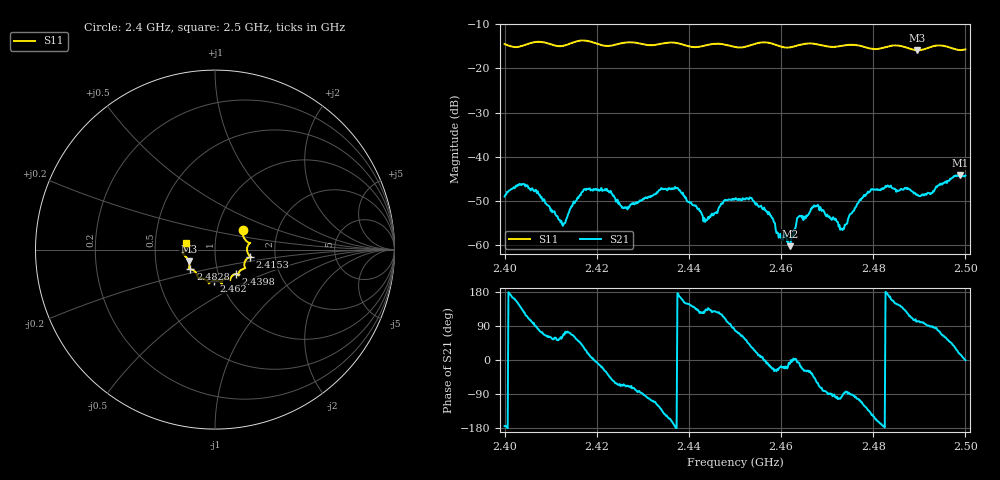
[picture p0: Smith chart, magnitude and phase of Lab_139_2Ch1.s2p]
# Hz S RI R 50
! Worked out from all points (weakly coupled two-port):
!   601 points, 2.4 GHz to 2.5 GHz, reference 50 ohm
!   highest |S21| = -44.22 dB at 2.4988 GHz (marker M1); lowest = -60.2 dB at 2.462 GHz (marker M2)
!   lowest |S11| = -15.9 dB at 2.4895 GHz (marker M3), VSWR 1.38, Z = 36.9 - j4.99 ohm
!   |S11| at or under -10 dB: start of sweep to end of sweep
!   S12 and S22 are empty: the file has one direction only
!   S11 on the Smith chart (normalised r, x): 2.4 GHz: 1.33, +0.29; 2.4153 GHz: 1.48, -0.12; 2.4398 GHz: 1.21, -0.34; 2.462 GHz: 0.93, -0.33; 2.4828 GHz: 0.74, -0.17; 2.5 GHz: 0.72, +0.06
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2.4e9  0.1555 0.1068  -0.00353 -0.000344  0 0  0 0
2.4045e9  0.1798 0.043  -0.00225 0.00404  0 0  0 0
2.412667e9  0.1796 -0.00991  0.000692 0.0015  0 0  0 0
2.415333e9  0.1963 -0.0386  0.00162 0.00266  0 0  0 0
2.416667e9  0.2023 -0.0426  0.00295 0.00261  0 0  0 0
2.422167e9  0.1671 -0.0662  0.00358 -0.00243  0 0  0 0
2.426167e9  0.1675 -0.1016  0.000996 -0.00245  0 0  0 0
2.433333e9  0.1307 -0.1338  -0.0021 -0.00346  0 0  0 0
2.439833e9  0.1155 -0.1362  -0.0026 0.00166  0 0  0 0
2.443667e9  0.0865 -0.1607  -0.00133 0.00141  0 0  0 0
2.45e9  0.0649 -0.1623  0.000724 0.00325  0 0  0 0
2.453667e9  0.0362 -0.1818  0.00286 0.00182  0 0  0 0
2.462e9  -0.00491 -0.1731  0.000967 -0.000114  0 0  0 0
2.463833e9  -0.026 -0.1815  0.00209 -0.000249  0 0  0 0
2.466667e9  -0.0344 -0.1881  0.00213 -0.00148  0 0  0 0
2.473333e9  -0.0829 -0.1604  -8.76e-05 -0.00148  0 0  0 0
2.4775e9  -0.0973 -0.1494  -0.00122 -0.00318  0 0  0 0
2.482833e9  -0.1366 -0.1095  -0.00456 0.000149  0 0  0 0
2.483333e9  -0.1402 -0.109  -0.00452 0.000845  0 0  0 0
2.4895e9  -0.1463 -0.0658  -0.00073 0.00364  0 0  0 0
2.498833e9  -0.16 0.0183  0.00594 0.00161  0 0  0 0
2.5e9  -0.1594 0.0389  0.00612 -5.46e-05  0 0  0 0
